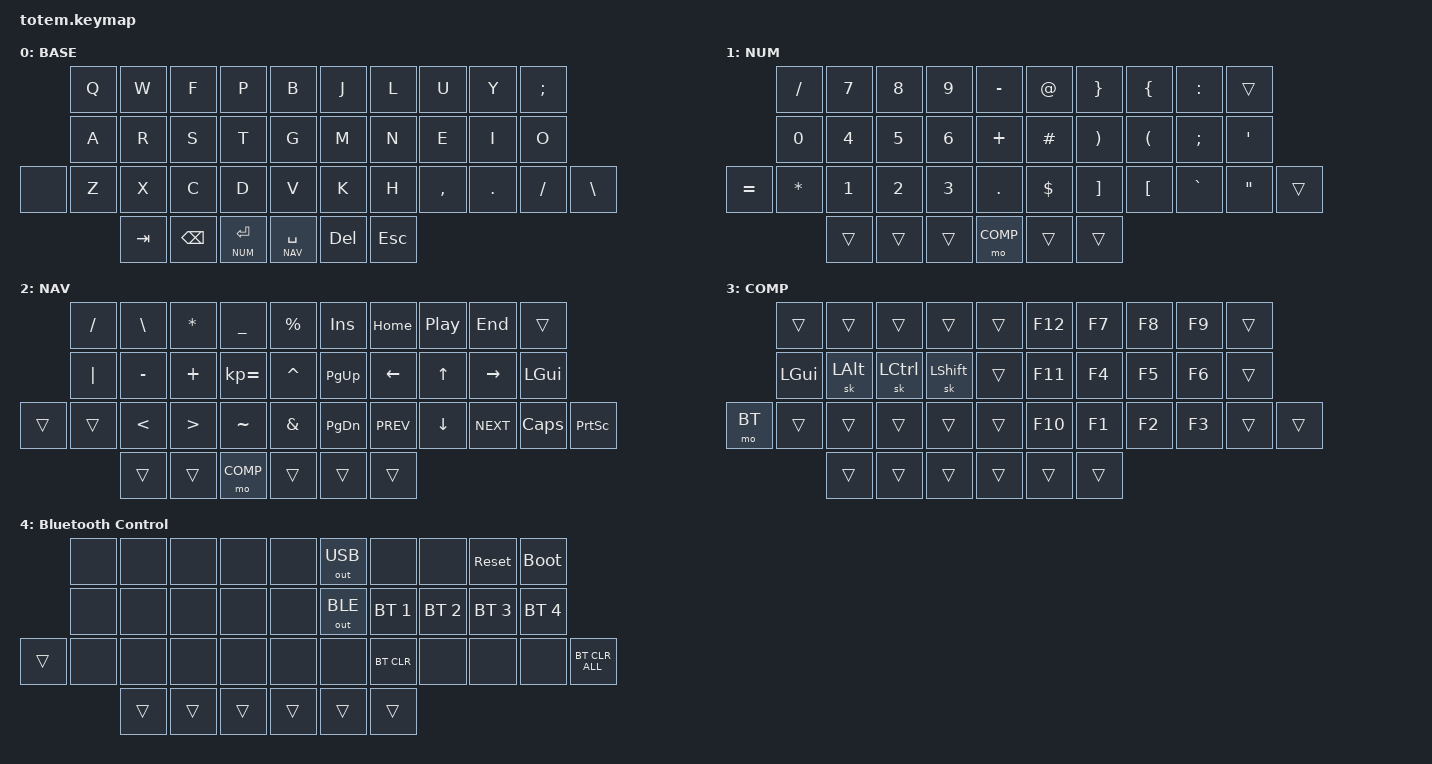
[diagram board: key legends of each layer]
//
//                                                        ▀▀▀▀▀     ▀▀▀▀▀          ▀▀█▀▀
//                                                        ▄▀▀▀▄  ▄  ▄▀▀▀▄  ▄  ▄▀▀▀▄  █  ▄▀▀▀▄
//                                                        █   █  █  █   █  █  █   █  █  █   █
//                                                         ▀▀▀   █   ▀▀▀   █   ▀▀▀   ▀   ▀▀▀
//                                                               █      ▄▄▄█▄▄▄    █   █  
//                                                               ▀      █  █  █     █▄█
//                                                             ▀▀▀▀▀    █  █  █      ▀
//                                                                      ▀  ▀  ▀
//
// ▄▄▄▄▄▄▄▄▄▄▄▄▄▄▄▄▄▄▄▄▄▄▄▄▄▄▄▄▄▄▄▄▄▄▄▄▄▄▄▄▄▄▄▄▄▄▄▄▄▄▄▄▄▄▄▄▄▄▄▄▄▄▄▄▄▄▄▄▄▄▄▄▄▄▄▄▄▄▄▄▄▄▄▄▄▄▄▄▄▄▄▄▄▄▄▄▄▄▄▄▄▄▄▄▄▄▄▄▄▄▄▄▄▄▄▄▄▄▄▄▄▄▄▄▄▄▄▄▄▄▄▄▄▄▄▄▄▄▄▄▄▄▄▄▄▄▄▄▄
       

#include <behaviors.dtsi>
#include <dt-bindings/zmk/keys.h>
#include <dt-bindings/zmk/bt.h>
#include <dt-bindings/zmk/outputs.h>

#define BASE 0
#define NUM  1
#define NAV  2
#define COMP  3
#define BT   4

&mt {
  quick-tap-ms = <100>;
  global-quick-tap;
  flavor = "tap-preferred";
  tapping-term-ms = <250>;
};

/ {
    combos {
            compatible = "zmk,combos";
            combo_esc {
                timeout-ms = <50>;
                key-positions = <0 1>;
                bindings = <&kp ESC>;
            };
    };

    macros {
        gif: gif {
            label = "giphy";
            compatible = "zmk,behavior-macro";
            #binding-cells = <0>;
            bindings
                = <&macro_press &kp LSHFT>
                , <&macro_tap &kp N2>
                , <&macro_release &kp LSHFT>
                , <&macro_tap &kp G &kp I &kp F>
                ;
        };
    };

        keymap {
                compatible = "zmk,keymap";
// ▄▄▄▄▄▄▄▄▄▄▄▄▄▄▄▄▄▄▄▄▄▄▄▄▄▄▄▄▄▄▄▄▄▄▄▄▄▄▄▄▄▄▄▄▄▄▄▄▄▄▄▄▄▄▄▄▄▄▄▄▄▄▄▄▄▄▄▄▄▄▄▄▄▄▄▄▄▄▄▄▄▄▄▄▄▄▄▄▄▄▄▄▄▄▄▄▄▄▄▄▄▄▄▄▄▄▄▄▄▄▄▄▄▄▄▄▄▄▄▄▄▄▄▄▄▄▄▄▄▄▄▄▄▄▄▄▄▄▄▄▄▄▄▄▄▄▄▄▄

                base_layer {
// ┏━━━━━━━━━━━━━━━━━━━━━━━━━━━━━━━━━━━━━━━┓
label= "BASE"                              ;
// ┗━━━━━━━━━━━━━━━━━━━━━━━━━━━━━━━━━━━━━━━┛
//             ┏━━━━━━━━━━━┳━━━━━━━━━━━┳━━━━━━━━━━━┳━━━━━━━━━━━┳━━━━━━━━━━━┓   ┏━━━━━━━━━━━┳━━━━━━━━━━━┳━━━━━━━━━━━┳━━━━━━━━━━━┳━━━━━━━━━━━┓
//             ┃     Q     ┃     W     ┃     F     ┃     P     ┃     B     ┃   ┃     J     ┃     L     ┃     U     ┃     Y     ┃     ;     ┃
//             ┣━━━━━━━━━━━╋━━━━━━━━━━━╋━━━━━━━━━━━╋━━━━━━━━━━━╋━━━━━━━━━━━┫   ┣━━━━━━━━━━━╋━━━━━━━━━━━╋━━━━━━━━━━━╋━━━━━━━━━━━╋━━━━━━━━━━━┫
//             ┃     A     ┃     R     ┃     S     ┃     T     ┃     G     ┃   ┃     M     ┃     N     ┃     E     ┃     I     ┃     O     ┃
// ┏━━━━━━━━━━━╋━━━━━━━━━━━╋━━━━━━━━━━━╋━━━━━━━━━━━╋━━━━━━━━━━━╋━━━━━━━━━━━┫   ┣━━━━━━━━━━━╋━━━━━━━━━━━╋━━━━━━━━━━━╋━━━━━━━━━━━╋━━━━━━━━━━━╋━━━━━━━━━━━┓
// ┃           ┃     Z     ┃     X     ┃     C     ┃     D     ┃     V     ┃   ┃     K     ┃     H     ┃     ,     ┃     .     ┃     /     ┃     \     ┃
// ┗━━━━━━━━━━━┻━━━━━━━━━━━┻━━━━━━━━━━━╋━━━━━━━━━━━╋━━━━━━━━━━━╋━━━━━━━━━━━┫   ┣━━━━━━━━━━━╋━━━━━━━━━━━╋━━━━━━━━━━━╋━━━━━━━━━━━┻━━━━━━━━━━━┻━━━━━━━━━━━┛
//                                     ┃    TAB    ┃    BSPC   ┃    ENTER  ┃   ┃   SPACE   ┃    DEL    ┃    ESC    ┃
//                                     ┗━━━━━━━━━━━┻━━━━━━━━━━━┻━━━━━━━━━━━┛   ┗━━━━━━━━━━━┻━━━━━━━━━━━┻━━━━━━━━━━━┛
 bindings = <
// ╷           ╷           ╷           ╷           ╷           ╷           ╷   ╷           ╷           ╷           ╷           ╷           ╷           ╷

                &kp Q       &kp W       &kp F       &kp P       &kp B           &kp J       &kp L       &kp U       &kp Y       &kp SEMI
                &kp A       &kp R       &kp S       &kp T       &kp G           &kp M       &kp N       &kp E       &kp I       &kp O
    &none       &kp Z       &kp X       &kp C       &kp D       &kp V           &kp K       &kp H       &kp COMMA   &kp DOT     &kp FSLH    &kp BSLH
                                &kp TAB     &kp BSPC    &lt NUM RET     &lt NAV SPACE &kp DEL   &kp ESC
                        >;
                };

// ▄▄▄▄▄▄▄▄▄▄▄▄▄▄▄▄▄▄▄▄▄▄▄▄▄▄▄▄▄▄▄▄▄▄▄▄▄▄▄▄▄▄▄▄▄▄▄▄▄▄▄▄▄▄▄▄▄▄▄▄▄▄▄▄▄▄▄▄▄▄▄▄▄▄▄▄▄▄▄▄▄▄▄▄▄▄▄▄▄▄▄▄▄▄▄▄▄▄▄▄▄▄▄▄▄▄▄▄▄▄▄▄▄▄▄▄▄▄▄▄▄▄▄▄▄▄▄▄▄▄▄▄▄▄▄▄▄▄▄▄▄▄▄▄▄▄▄▄▄


                num_layer {
// ┏━━━━━━━━━━━━━━━━━━━━━━━━━━━━━━━━━━━━━━━┓
label= "NUM"                              ;
// ┗━━━━━━━━━━━━━━━━━━━━━━━━━━━━━━━━━━━━━━━┛
//             ┏━━━━━━━━━━━┳━━━━━━━━━━━┳━━━━━━━━━━━┳━━━━━━━━━━━┳━━━━━━━━━━━┓   ┏━━━━━━━━━━━┳━━━━━━━━━━━┳━━━━━━━━━━━┳━━━━━━━━━━━┳━━━━━━━━━━━┓
//             ┃     /     ┃     7     ┃     8     ┃     9     ┃     -     ┃   ┃     @     ┃   RBRC    ┃   LBRC    ┃     :     ┃           ┃
//             ┣━━━━━━━━━━━╋━━━━━━━━━━━╋━━━━━━━━━━━╋━━━━━━━━━━━╋━━━━━━━━━━━┫   ┣━━━━━━━━━━━╋━━━━━━━━━━━╋━━━━━━━━━━━╋━━━━━━━━━━━╋━━━━━━━━━━━┫
//             ┃     0     ┃     4     ┃     5     ┃     6     ┃     +     ┃   ┃     #     ┃   RPAR    ┃   LPAR    ┃     ;     ┃     '     ┃
// ┏━━━━━━━━━━━╋━━━━━━━━━━━╋━━━━━━━━━━━╋━━━━━━━━━━━╋━━━━━━━━━━━╋━━━━━━━━━━━┫   ┣━━━━━━━━━━━╋━━━━━━━━━━━╋━━━━━━━━━━━╋━━━━━━━━━━━╋━━━━━━━━━━━╋━━━━━━━━━━━┓
// ┃     =     ┃     *     ┃     1     ┃     2     ┃     3     ┃     .     ┃   ┃     $     ┃   RBKT    ┃   LBKT    ┃     `     ┃     "     ┃           ┃
// ┗━━━━━━━━━━━┻━━━━━━━━━━━┻━━━━━━━━━━━╋━━━━━━━━━━━╋━━━━━━━━━━━╋━━━━━━━━━━━┫   ┣━━━━━━━━━━━╋━━━━━━━━━━━╋━━━━━━━━━━━╋━━━━━━━━━━━┻━━━━━━━━━━━┻━━━━━━━━━━━┛
//                                     ┃    TAB    ┃    BSPC   ┃    NUM    ┃   ┃    COMP   ┃    DEL    ┃    ESC    ┃
//                                     ┗━━━━━━━━━━━┻━━━━━━━━━━━┻━━━━━━━━━━━┛   ┗━━━━━━━━━━━┻━━━━━━━━━━━┻━━━━━━━━━━━┛
 bindings = <
// ╷           ╷           ╷           ╷           ╷           ╷           ╷   ╷           ╷           ╷           ╷           ╷           ╷           ╷

                &kp FSLH   &kp N7     &kp N8       &kp N9   &kp MINUS        &kp AT_SIGN     &kp RBRC        &kp LBRC   &kp COLON    &trans
                &kp N0     &kp N4     &kp N5       &kp N6   &kp PLUS         &kp HASH        &kp RPAR        &kp LPAR   &kp SEMI     &kp SINGLE_QUOTE
    &kp EQUAL   &kp STAR   &kp N1     &kp N2       &kp N3   &kp DOT          &kp DOLLAR      &kp RBKT        &kp LBKT   &kp GRAVE    &kp DOUBLE_QUOTES       &trans      
                                                &trans          &trans      &trans              &mo COMP        &trans          &trans      
                        >;
                };

// ▄▄▄▄▄▄▄▄▄▄▄▄▄▄▄▄▄▄▄▄▄▄▄▄▄▄▄▄▄▄▄▄▄▄▄▄▄▄▄▄▄▄▄▄▄▄▄▄▄▄▄▄▄▄▄▄▄▄▄▄▄▄▄▄▄▄▄▄▄▄▄▄▄▄▄▄▄▄▄▄▄▄▄▄▄▄▄▄▄▄▄▄▄▄▄▄▄▄▄▄▄▄▄▄▄▄▄▄▄▄▄▄▄▄▄▄▄▄▄▄▄▄▄▄▄▄▄▄▄▄▄▄▄▄▄▄▄▄▄▄▄▄▄▄▄▄▄▄▄


                nav_layer {
// ┏━━━━━━━━━━━━━━━━━━━━━━━━━━━━━━━━━━━━━━━┓
label= "NAV"                               ;
// ┗━━━━━━━━━━━━━━━━━━━━━━━━━━━━━━━━━━━━━━━┛
//             ┏━━━━━━━━━━━┳━━━━━━━━━━━┳━━━━━━━━━━━┳━━━━━━━━━━━┳━━━━━━━━━━━┓   ┏━━━━━━━━━━━┳━━━━━━━━━━━┳━━━━━━━━━━━┳━━━━━━━━━━━┳━━━━━━━━━━━┓
//             ┃     /     ┃     \     ┃     *     ┃     _     ┃     %     ┃   ┃   INSRT   ┃   HOME    ┃   PLAY    ┃    END    ┃           ┃
//             ┣━━━━━━━━━━━╋━━━━━━━━━━━╋━━━━━━━━━━━╋━━━━━━━━━━━╋━━━━━━━━━━━┫   ┣━━━━━━━━━━━╋━━━━━━━━━━━╋━━━━━━━━━━━╋━━━━━━━━━━━╋━━━━━━━━━━━┫
//             ┃     |     ┃     -     ┃     +     ┃     =     ┃     ^     ┃   ┃   PGUP    ┃   LEFT    ┃    UP     ┃  RIGHT    ┃    GUI    ┃
// ┏━━━━━━━━━━━╋━━━━━━━━━━━╋━━━━━━━━━━━╋━━━━━━━━━━━╋━━━━━━━━━━━╋━━━━━━━━━━━┫   ┣━━━━━━━━━━━╋━━━━━━━━━━━╋━━━━━━━━━━━╋━━━━━━━━━━━╋━━━━━━━━━━━╋━━━━━━━━━━━┓
// ┃           ┃           ┃     <     ┃     >     ┃     ~     ┃     &     ┃   ┃   PGDN    ┃   PREV    ┃   DOWN    ┃   NEXT    ┃    CAPS   ┃   PSCRN   ┃
// ┗━━━━━━━━━━━┻━━━━━━━━━━━┻━━━━━━━━━━━╋━━━━━━━━━━━╋━━━━━━━━━━━╋━━━━━━━━━━━┫   ┣━━━━━━━━━━━╋━━━━━━━━━━━╋━━━━━━━━━━━╋━━━━━━━━━━━┻━━━━━━━━━━━┻━━━━━━━━━━━┛
//                                     ┃    TAB    ┃    BSPC   ┃    NUM    ┃   ┃    NAV    ┃    DEL    ┃    ESC    ┃
//                                     ┗━━━━━━━━━━━┻━━━━━━━━━━━┻━━━━━━━━━━━┛   ┗━━━━━━━━━━━┻━━━━━━━━━━━┻━━━━━━━━━━━┛
 bindings = <
// ╷           ╷           ╷           ╷           ╷           ╷           ╷   ╷           ╷           ╷           ╷           ╷           ╷           ╷

                &kp FSLH        &kp BSLH        &kp ASTERISK    &kp UNDERSCORE  &kp PRCNT       &kp INSERT      &kp HOME        &kp C_PP          &kp END         &trans      
                &kp PIPE        &kp MINUS       &kp PLUS        &kp KP_EQUAL    &kp CARET       &kp PG_UP       &kp LEFT        &kp UP        &kp RIGHT       &kp LGUI 
    &trans      &trans          &kp LT          &kp GT          &kp TILDE       &kp AMPS        &kp PG_DN       &kp C_PREV      &kp DOWN        &kp C_NEXT      &kp CAPSLOCK   &kp PSCRN         
                                                &trans          &trans          &mo COMP        &trans          &trans          &trans      
                        >;
                };

// ▄▄▄▄▄▄▄▄▄▄▄▄▄▄▄▄▄▄▄▄▄▄▄▄▄▄▄▄▄▄▄▄▄▄▄▄▄▄▄▄▄▄▄▄▄▄▄▄▄▄▄▄▄▄▄▄▄▄▄▄▄▄▄▄▄▄▄▄▄▄▄▄▄▄▄▄▄▄▄▄▄▄▄▄▄▄▄▄▄▄▄▄▄▄▄▄▄▄▄▄▄▄▄▄▄▄▄▄▄▄▄▄▄▄▄▄▄▄▄▄▄▄▄▄▄▄▄▄▄▄▄▄▄▄▄▄▄▄▄▄▄▄▄▄▄▄▄▄▄


                computation_layer {
// ┏━━━━━━━━━━━━━━━━━━━━━━━━━━━━━━━━━━━━━━━┓
label= "COMP"                               ;
// ┗━━━━━━━━━━━━━━━━━━━━━━━━━━━━━━━━━━━━━━━┛
//             ┏━━━━━━━━━━━┳━━━━━━━━━━━┳━━━━━━━━━━━┳━━━━━━━━━━━┳━━━━━━━━━━━┓   ┏━━━━━━━━━━━┳━━━━━━━━━━━┳━━━━━━━━━━━┳━━━━━━━━━━━┳━━━━━━━━━━━┓
//             ┃           ┃           ┃           ┃           ┃           ┃   ┃    F12    ┃    F7     ┃    F8     ┃    F9     ┃           ┃
//             ┣━━━━━━━━━━━╋━━━━━━━━━━━╋━━━━━━━━━━━╋━━━━━━━━━━━╋━━━━━━━━━━━┫   ┣━━━━━━━━━━━╋━━━━━━━━━━━╋━━━━━━━━━━━╋━━━━━━━━━━━╋━━━━━━━━━━━┫
//             ┃    GUI    ┃    ALT    ┃    CTRL   ┃    SHFT   ┃           ┃   ┃    F11    ┃    F4     ┃    F5     ┃    F6     ┃           ┃
// ┏━━━━━━━━━━━╋━━━━━━━━━━━╋━━━━━━━━━━━╋━━━━━━━━━━━╋━━━━━━━━━━━╋━━━━━━━━━━━┫   ┣━━━━━━━━━━━╋━━━━━━━━━━━╋━━━━━━━━━━━╋━━━━━━━━━━━╋━━━━━━━━━━━╋━━━━━━━━━━━┓
// ┃    BT     ┃           ┃           ┃           ┃           ┃           ┃   ┃    F10    ┃    F1     ┃    F2     ┃    F3     ┃           ┃           ┃
// ┗━━━━━━━━━━━┻━━━━━━━━━━━┻━━━━━━━━━━━╋━━━━━━━━━━━╋━━━━━━━━━━━╋━━━━━━━━━━━┫   ┣━━━━━━━━━━━╋━━━━━━━━━━━╋━━━━━━━━━━━╋━━━━━━━━━━━┻━━━━━━━━━━━┻━━━━━━━━━━━┛
//                                     ┃           ┃           ┃           ┃   ┃           ┃           ┃           ┃
//                                     ┗━━━━━━━━━━━┻━━━━━━━━━━━┻━━━━━━━━━━━┛   ┗━━━━━━━━━━━┻━━━━━━━━━━━┻━━━━━━━━━━━┛
 bindings = <
// ╷           ╷           ╷           ╷           ╷           ╷           ╷   ╷           ╷           ╷           ╷           ╷           ╷           ╷

                &trans      &trans      &trans      &trans      &trans          &kp F12     &kp F7      &kp F8      &kp F9      &trans
                &kp LGUI    &sk LALT    &sk LCTRL   &sk LSHFT   &trans          &kp F11     &kp F4      &kp F5      &kp F6      &trans  
    &mo BT      &trans      &trans      &trans      &trans      &trans          &kp F10     &kp F1      &kp F2      &kp F3      &trans     &trans         
                                        &trans      &trans      &trans          &trans      &trans      &trans      
                        >;
                };

// ▄▄▄▄▄▄▄▄▄▄▄▄▄▄▄▄▄▄▄▄▄▄▄▄▄▄▄▄▄▄▄▄▄▄▄▄▄▄▄▄▄▄▄▄▄▄▄▄▄▄▄▄▄▄▄▄▄▄▄▄▄▄▄▄▄▄▄▄▄▄▄▄▄▄▄▄▄▄▄▄▄▄▄▄▄▄▄▄▄▄▄▄▄▄▄▄▄▄▄▄▄▄▄▄▄▄▄▄▄▄▄▄▄▄▄▄▄▄▄▄▄▄▄▄▄▄▄▄▄▄▄▄▄▄▄▄▄▄▄▄▄▄▄▄▄▄▄▄▄


                bt_layer {
// ┏━━━━━━━━━━━━━━━━━━━━━━━━━━━━━━━━━━━━━━━┓
label= "Bluetooth Control"                               ;
// ┗━━━━━━━━━━━━━━━━━━━━━━━━━━━━━━━━━━━━━━━┛
//             ┏━━━━━━━━━━━┳━━━━━━━━━━━┳━━━━━━━━━━━┳━━━━━━━━━━━┳━━━━━━━━━━━┓   ┏━━━━━━━━━━━┳━━━━━━━━━━━┳━━━━━━━━━━━┳━━━━━━━━━━━┳━━━━━━━━━━━┓
//             ┃           ┃           ┃           ┃           ┃           ┃   ┃    USB    ┃           ┃           ┃    RESET  ┃    BOOT   ┃
//             ┣━━━━━━━━━━━╋━━━━━━━━━━━╋━━━━━━━━━━━╋━━━━━━━━━━━╋━━━━━━━━━━━┫   ┣━━━━━━━━━━━╋━━━━━━━━━━━╋━━━━━━━━━━━╋━━━━━━━━━━━╋━━━━━━━━━━━┫
//             ┃           ┃           ┃           ┃           ┃           ┃   ┃    BLE    ┃    BT1    ┃    BT2    ┃    BT3    ┃    BT4    ┃
// ┏━━━━━━━━━━━╋━━━━━━━━━━━╋━━━━━━━━━━━╋━━━━━━━━━━━╋━━━━━━━━━━━╋━━━━━━━━━━━┫   ┣━━━━━━━━━━━╋━━━━━━━━━━━╋━━━━━━━━━━━╋━━━━━━━━━━━╋━━━━━━━━━━━╋━━━━━━━━━━━┓
// ┃           ┃           ┃           ┃           ┃           ┃           ┃   ┃           ┃    BTC    ┃           ┃           ┃           ┃  BTC ALL  ┃
// ┗━━━━━━━━━━━┻━━━━━━━━━━━┻━━━━━━━━━━━╋━━━━━━━━━━━╋━━━━━━━━━━━╋━━━━━━━━━━━┫   ┣━━━━━━━━━━━╋━━━━━━━━━━━╋━━━━━━━━━━━╋━━━━━━━━━━━┻━━━━━━━━━━━┻━━━━━━━━━━━┛
//                                     ┃           ┃           ┃           ┃   ┃           ┃           ┃           ┃
//                                     ┗━━━━━━━━━━━┻━━━━━━━━━━━┻━━━━━━━━━━━┛   ┗━━━━━━━━━━━┻━━━━━━━━━━━┻━━━━━━━━━━━┛
 bindings = <
// ╷           ╷           ╷           ╷           ╷           ╷           ╷   ╷           ╷           ╷           ╷           ╷           ╷           ╷

                &none       &none       &none       &none       &none           &out OUT_USB       &none       &none       &sys_reset       &bootloader 
                &none       &none       &none       &none       &none           &out OUT_BLE       &bt BT_SEL 1       &bt BT_SEL 2       &bt BT_SEL 3       &bt BT_SEL 4   
    &trans      &none       &none       &none       &none       &none           &none       &bt BT_CLR       &none       &none       &none      &bt BT_CLR_ALL          
                                        &trans      &trans      &trans          &trans      &trans      &trans      
                        >;
                };

        };
};
